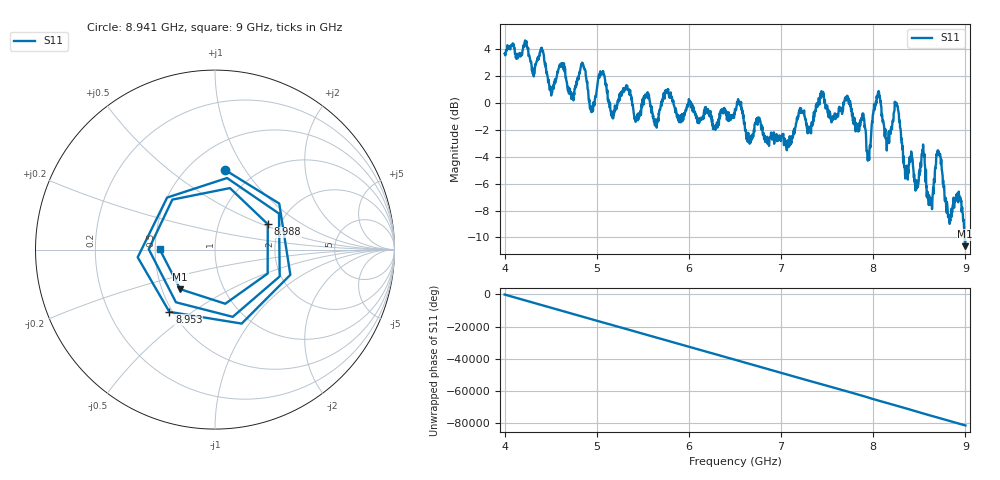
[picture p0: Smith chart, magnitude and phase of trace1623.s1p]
! Created with skrf 1.8.0 (http://scikit-rf.org).
# Hz S RI R 50.0
!freq ReS11 ImS11
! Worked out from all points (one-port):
!   1601 points, 4 GHz to 9 GHz, reference 50 ohm
!   lowest |S11| = -10.6 dB at 8.997 GHz (marker M1), VSWR 1.83, Z = 31 - j15 ohm
!   |S11| at or under -10 dB: 8.99218 GHz to end of sweep
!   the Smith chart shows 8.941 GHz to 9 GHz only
!   S11 on the Smith chart (normalised r, x): 8.941 GHz: 0.73, +0.81; 8.953 GHz: 0.48, -0.41; 8.988 GHz: 1.72, +0.55; 9 GHz: 0.53, +0.00
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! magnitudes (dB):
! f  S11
! 4 GHz  3.7
! 4.403 GHz  4.1
! 4.509 GHz  0.9
! 4.625 GHz  2.9
! 4.731 GHz  0.4
! 4.853 GHz  2.8
! 4.95 GHz  -0.4
! 5.047 GHz  2.2
! 5.162 GHz  -0.6
! 5.25 GHz  0.2
! 5.875 GHz  -0.9
! 6.5 GHz  -0.5
! 7.125 GHz  -2.6
! 7.75 GHz  0.1
! 7.947 GHz  -4.2
! 8.047 GHz  0.5
! 8.147 GHz  -3.5
! 8.253 GHz  0.0
! 8.375 GHz  -5.7
! 8.538 GHz  -3.7
! 8.619 GHz  -7.4
! 8.709 GHz  -3.7
! 8.816 GHz  -8.3
! 8.941 GHz  -7.0
! 8.953 GHz  -7.3
! 8.988 GHz  -9.7
! 8.997 GHz  -10.6
! 9 GHz  -10.2
